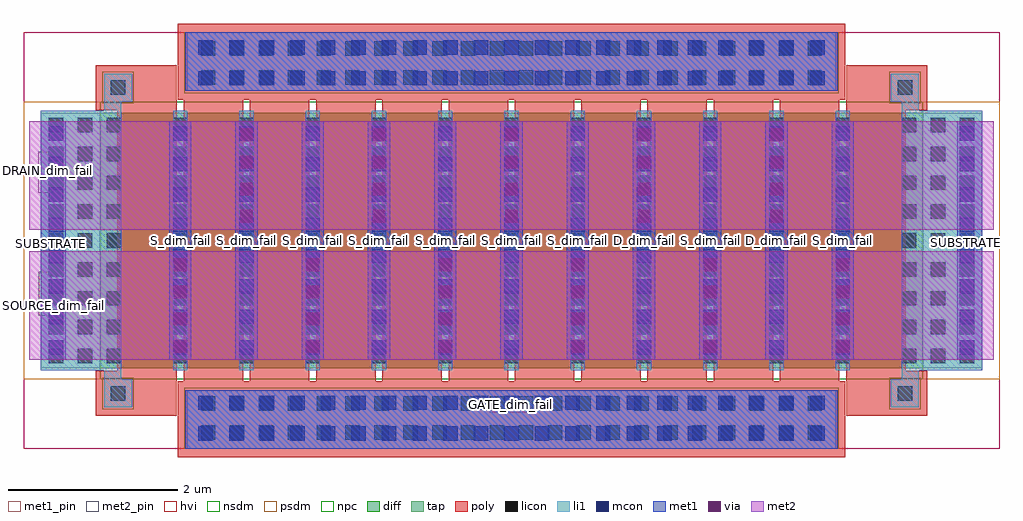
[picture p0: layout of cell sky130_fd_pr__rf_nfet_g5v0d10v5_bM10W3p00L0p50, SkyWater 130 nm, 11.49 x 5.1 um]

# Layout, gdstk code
import gdstk
lib = gdstk.Library(unit=1e-6, precision=1e-09)
def R(c, l, rs):  # rectangles x0, y0, x1, y1
    for r in rs: c.add(gdstk.rectangle(r[:2], r[2:], *l))
def A(c, l, x, y, w, h, nx, ny, dx, dy):  # array of equal rectangles
    R(c, l, [(x+i*dx, y+j*dy, x+i*dx+w, y+j*dy+h) for i in range(nx) for j in range(ny)])
def P(c, l, *ps):  # polygons
    for p in ps: c.add(gdstk.Polygon(p, *l))
diff = (65, 20)
tap = (65, 44)
poly = (66, 20)
licon = (66, 44)
li1 = (67, 20)
mcon = (67, 44)
met1_pin = (68, 16)
met1 = (68, 20)
via = (68, 44)
met2_pin = (69, 16)
met2 = (69, 20)
hvi = (75, 20)
nsdm = (93, 44)
psdm = (94, 20)
npc = (95, 20)

sky130_fd_pr__rf_nfet_g5 = lib.new_cell('sky130_fd_pr__rf_nfet_g5v0d10v5_bM10W3p00L0p50')
R(sky130_fd_pr__rf_nfet_g5, diff, [(0.905,0.945,10.585,3.955)])
R(sky130_fd_pr__rf_nfet_g5, tap, [(0.205,0.945,0.905,3.955), (10.585,0.945,11.285,3.955)])
P(sky130_fd_pr__rf_nfet_g5, poly, [(0.85,0.385),(0.85,0.915),(1.105,0.915),(1.105,3.985),(0.85,3.985),(0.85,4.515),(1.805,4.515),(1.805,0.385)],
  [(9.685,0.385),(9.685,4.515),(10.64,4.515),(10.64,3.985),(10.385,3.985),(10.385,0.915),(10.64,0.915),(10.64,0.385)],
  [(1.815,-0.1),(1.815,0.795),(1.885,0.795),(1.885,4.105),(2.585,4.105),(2.585,0.795),(2.665,0.795),(2.665,4.105),(3.365,4.105),(3.365,0.795),(3.445,0.795),(3.445,4.105),(4.145,4.105),(4.145,0.795),(4.225,0.795),(4.225,4.105),(4.925,4.105),(4.925,0.795),(5.005,0.795),(5.005,4.105),(5.705,4.105),(5.705,0.795),(5.785,0.795),(5.785,4.105),(6.485,4.105),(6.485,0.795),(6.565,0.795),(6.565,4.105),(7.265,4.105),(7.265,0.795),(7.345,0.795),(7.345,4.105),(8.045,4.105),(8.045,0.795),(8.125,0.795),(8.125,4.105),(8.825,4.105),(8.825,0.795),(8.905,0.795),(8.905,4.105),(1.815,4.105),(1.815,5),(9.675,5),(9.675,4.105),(9.605,4.105),(9.605,0.795),(9.675,0.795),(9.675,-0.1)])
A(sky130_fd_pr__rf_nfet_g5, licon, 2.09, 0.105, 0.17, 0.17, 22, 2, 0.34, 0.34)
A(sky130_fd_pr__rf_nfet_g5, licon, 0.3, 1.005, 0.17, 0.17, 3, 9, 0.34, 0.34)
A(sky130_fd_pr__rf_nfet_g5, licon, 1.76, 1.005, 0.17, 0.17, 12, 9, 0.78, 0.34)
A(sky130_fd_pr__rf_nfet_g5, licon, 10.68, 1.005, 0.17, 0.17, 1, 9, 0, 0.34)
A(sky130_fd_pr__rf_nfet_g5, licon, 11.02, 1.005, 0.17, 0.17, 1, 9, 0, 0.34)
A(sky130_fd_pr__rf_nfet_g5, licon, 2.09, 4.285, 0.17, 0.17, 22, 2, 0.34, 0.34)
R(sky130_fd_pr__rf_nfet_g5, licon, [(1.03,0.565,1.2,0.735), (10.29,0.565,10.46,0.735), (1.03,4.165,1.2,4.335), (10.29,4.165,10.46,4.335)])
A(sky130_fd_pr__rf_nfet_g5, li1, 1.76, 0.925, 0.17, 3.05, 11, 1, 0.78, 0)
A(sky130_fd_pr__rf_nfet_g5, li1, 1.76, 1.105, 0.17, 2.69, 11, 1, 0.78, 0)
R(sky130_fd_pr__rf_nfet_g5, li1, [(1.925,0,9.565,0.685), (0.95,0.485,1.28,0.815), (10.21,0.485,10.54,0.815), (0.95,0.815,1.15,0.925), (10.34,0.815,10.54,0.925), (0.205,0.925,1.15,3.975), (10.34,0.925,11.285,3.975), (0.95,3.975,1.15,4.085), (10.34,3.975,10.54,4.085), (0.95,4.085,1.28,4.415), (10.21,4.085,10.54,4.415), (1.925,4.215,9.565,4.9)])
A(sky130_fd_pr__rf_nfet_g5, mcon, 2.06, 0.095, 0.17, 0.17, 21, 2, 0.36, 0.36)
A(sky130_fd_pr__rf_nfet_g5, mcon, 0.3, 1.105, 0.17, 0.17, 1, 8, 0, 0.36)
A(sky130_fd_pr__rf_nfet_g5, mcon, 1.76, 1.105, 0.17, 0.17, 11, 8, 0.78, 0.36)
A(sky130_fd_pr__rf_nfet_g5, mcon, 11.02, 1.105, 0.17, 0.17, 1, 8, 0, 0.36)
A(sky130_fd_pr__rf_nfet_g5, mcon, 2.06, 4.275, 0.17, 0.17, 21, 2, 0.36, 0.36)
R(sky130_fd_pr__rf_nfet_g5, met1_pin, [(5.49,0.425,5.975,0.6), (0.205,2.33,0.5,2.48), (10.99,2.345,11.285,2.495), (5.48,4.285,6.09,4.45)])
A(sky130_fd_pr__rf_nfet_g5, met1, 1.715, 1.045, 0.26, 1.28, 6, 1, 1.56, 0)
A(sky130_fd_pr__rf_nfet_g5, met1, 1.715, 1.045, 0.26, 2.81, 11, 1, 0.78, 0)
A(sky130_fd_pr__rf_nfet_g5, met1, 2.495, 2.575, 0.26, 1.28, 5, 1, 1.56, 0)
R(sky130_fd_pr__rf_nfet_g5, met1, [(1.905,0,9.585,0.685), (0.205,1.045,0.5,3.855), (10.99,1.045,11.285,3.855), (1.905,4.215,9.585,4.9)])
A(sky130_fd_pr__rf_nfet_g5, via, 1.77, 1.13, 0.15, 0.15, 6, 4, 1.56, 0.32)
A(sky130_fd_pr__rf_nfet_g5, via, 2.55, 2.66, 0.15, 0.15, 5, 4, 1.56, 0.32)
R(sky130_fd_pr__rf_nfet_g5, met2_pin, [(0.18,1.565,0.33,2.085), (0.175,3.01,0.35,3.495)])
A(sky130_fd_pr__rf_nfet_g5, met2, 1.715, 1.045, 0.26, 1.28, 6, 1, 1.56, 0)
A(sky130_fd_pr__rf_nfet_g5, met2, 2.495, 2.575, 0.26, 1.28, 5, 1, 1.56, 0)
R(sky130_fd_pr__rf_nfet_g5, met2, [(0.07,1.045,11.42,2.325), (0.07,2.575,11.42,3.855)])
R(sky130_fd_pr__rf_nfet_g5, hvi, [(0,0,11.49,4.9)])
R(sky130_fd_pr__rf_nfet_g5, nsdm, [(0.905,0.815,10.585,4.085)])
R(sky130_fd_pr__rf_nfet_g5, psdm, [(0,0.815,0.905,4.085), (10.585,0.815,11.49,4.085)])
R(sky130_fd_pr__rf_nfet_g5, npc, [(1.895,0,9.595,0.715), (0.93,0.465,1.3,0.835), (10.19,0.465,10.56,0.835), (0.93,4.065,1.3,4.435), (10.19,4.065,10.56,4.435), (1.895,4.185,9.595,4.9)])
sky130_fd_pr__rf_nfet_g5.add(gdstk.Label('GATE_dim_fail', (5.735,0.525), layer=68, texttype=5))
sky130_fd_pr__rf_nfet_g5.add(gdstk.Label('SOURCE_dim_fail', (0.23,1.685), layer=69, texttype=5))
sky130_fd_pr__rf_nfet_g5.add(gdstk.Label('DRAIN_dim_fail', (0.255,3.275), layer=69, texttype=5))
sky130_fd_pr__rf_nfet_g5.add(gdstk.Label('S_dim_fail', (8.085,2.45), layer=83, texttype=44))
sky130_fd_pr__rf_nfet_g5.add(gdstk.Label('S_dim_fail', (9.645,2.45), layer=83, texttype=44))
sky130_fd_pr__rf_nfet_g5.add(gdstk.Label('D_dim_fail', (8.865,2.45), layer=83, texttype=44))
sky130_fd_pr__rf_nfet_g5.add(gdstk.Label('S_dim_fail', (8.085,2.45), layer=83, texttype=44))
sky130_fd_pr__rf_nfet_g5.add(gdstk.Label('D_dim_fail', (7.305,2.45), layer=83, texttype=44))
sky130_fd_pr__rf_nfet_g5.add(gdstk.Label('S_dim_fail', (8.865,2.45), layer=83, texttype=44))
sky130_fd_pr__rf_nfet_g5.add(gdstk.Label('S_dim_fail', (7.305,2.45), layer=83, texttype=44))
sky130_fd_pr__rf_nfet_g5.add(gdstk.Label('S_dim_fail', (4.965,2.45), layer=83, texttype=44))
sky130_fd_pr__rf_nfet_g5.add(gdstk.Label('S_dim_fail', (5.745,2.45), layer=83, texttype=44))
sky130_fd_pr__rf_nfet_g5.add(gdstk.Label('S_dim_fail', (6.525,2.45), layer=83, texttype=44))
sky130_fd_pr__rf_nfet_g5.add(gdstk.Label('D_dim_fail', (4.965,2.45), layer=83, texttype=44))
sky130_fd_pr__rf_nfet_g5.add(gdstk.Label('S_dim_fail', (5.745,2.45), layer=83, texttype=44))
sky130_fd_pr__rf_nfet_g5.add(gdstk.Label('D_dim_fail', (6.525,2.45), layer=83, texttype=44))
sky130_fd_pr__rf_nfet_g5.add(gdstk.Label('S_dim_fail', (3.405,2.45), layer=83, texttype=44))
sky130_fd_pr__rf_nfet_g5.add(gdstk.Label('S_dim_fail', (4.185,2.45), layer=83, texttype=44))
sky130_fd_pr__rf_nfet_g5.add(gdstk.Label('S_dim_fail', (3.405,2.45), layer=83, texttype=44))
sky130_fd_pr__rf_nfet_g5.add(gdstk.Label('D_dim_fail', (4.185,2.45), layer=83, texttype=44))
sky130_fd_pr__rf_nfet_g5.add(gdstk.Label('S_dim_fail', (1.845,2.45), layer=83, texttype=44))
sky130_fd_pr__rf_nfet_g5.add(gdstk.Label('S_dim_fail', (1.845,2.45), layer=83, texttype=44))
sky130_fd_pr__rf_nfet_g5.add(gdstk.Label('S_dim_fail', (2.625,2.45), layer=83, texttype=44))
sky130_fd_pr__rf_nfet_g5.add(gdstk.Label('D_dim_fail', (2.625,2.45), layer=83, texttype=44))
sky130_fd_pr__rf_nfet_g5.add(gdstk.Label('dummy_poly_dim_fail', (10.01,2.4), layer=83, texttype=44))
sky130_fd_pr__rf_nfet_g5.add(gdstk.Label('dummy_poly_dim_fail', (1.43,2.465), layer=83, texttype=44))
sky130_fd_pr__rf_nfet_g5.add(gdstk.Label('model_use_only_dim_fail', (2.19,2.455), layer=66, texttype=83))
sky130_fd_pr__rf_nfet_g5.add(gdstk.Label('model_use_only_dim_fail', (2.99,2.47), layer=66, texttype=83))
sky130_fd_pr__rf_nfet_g5.add(gdstk.Label('model_use_only_dim_fail', (3.765,2.505), layer=66, texttype=83))
sky130_fd_pr__rf_nfet_g5.add(gdstk.Label('model_use_only_dim_fail', (4.55,2.47), layer=66, texttype=83))
sky130_fd_pr__rf_nfet_g5.add(gdstk.Label('model_use_only_dim_fail', (5.34,2.445), layer=66, texttype=83))
sky130_fd_pr__rf_nfet_g5.add(gdstk.Label('model_use_only_dim_fail', (6.1,2.395), layer=66, texttype=83))
sky130_fd_pr__rf_nfet_g5.add(gdstk.Label('model_use_only_dim_fail', (6.85,2.38), layer=66, texttype=83))
sky130_fd_pr__rf_nfet_g5.add(gdstk.Label('model_use_only_dim_fail', (7.685,2.34), layer=66, texttype=83))
sky130_fd_pr__rf_nfet_g5.add(gdstk.Label('model_use_only_dim_fail', (8.45,2.395), layer=66, texttype=83))
sky130_fd_pr__rf_nfet_g5.add(gdstk.Label('model_use_only_dim_fail', (9.26,2.495), layer=66, texttype=83))
sky130_fd_pr__rf_nfet_g5.add(gdstk.Label('model_use_only_dim_fail', (9.845,2.45), layer=66, texttype=83))
sky130_fd_pr__rf_nfet_g5.add(gdstk.Label('model_use_only_dim_fail', (1.615,2.45), layer=66, texttype=83))
sky130_fd_pr__rf_nfet_g5.add(gdstk.Label('SUBSTRATE', (11.1,2.425), layer=68, texttype=16))
sky130_fd_pr__rf_nfet_g5.add(gdstk.Label('SUBSTRATE', (0.335,2.41), layer=68, texttype=16))

lib.write_gds('sky130_fd_pr__rf_nfet_g5v0d10v5_bM10W3p00L0p50.gds')
